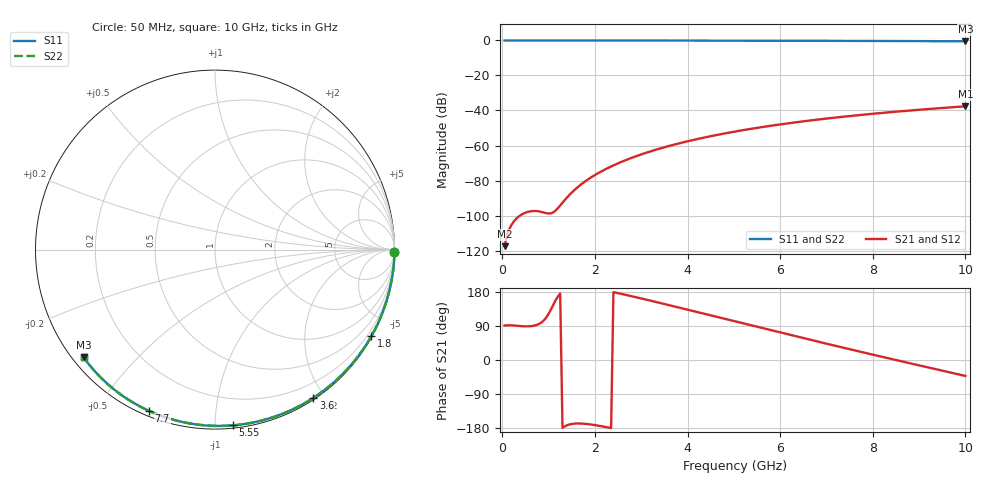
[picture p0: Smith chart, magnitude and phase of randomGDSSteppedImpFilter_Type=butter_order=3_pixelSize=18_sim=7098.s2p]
! freq	dB(S11)	phase(S11)	dB(S12)	phase(S12)
!  dB(S21)	phase(S21)	dB(S22)	phase(S22)
!S-par simulation data
#  GHz  S  DB  R 50
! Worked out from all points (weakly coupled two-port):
!   200 points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, 50 MHz to 10 GHz, reference 50 ohm
!   highest |S21| = -37.61 dB at 10 GHz (marker M1); lowest = -117.5 dB at 50 MHz (marker M2)
!   lowest |S11| = -0.5 dB at 10 GHz (marker M3), VSWR 36.46, Z = 1.55 - j17.8 ohm
!   |S11| at or under -10 dB: nowhere
!   |S22| runs from -0.5 to 0.0 dB; largest |S21 - S12| = 0
!   S11 on the Smith chart (normalised r, x): 50 MHz: open; 1.8 GHz: 0.03, -3.88; 3.6 GHz: 0.02, -1.86; 5.55 GHz: 0.02, -1.11; 7.7 GHz: 0.02, -0.67; 10 GHz: 0.03, -0.36
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0.05  -0.00 -0.8  -117.49 90.9  -117.49 90.9  -0.00 -0.8
0.45  -0.01 -7.3  -98.94 89.0  -98.94 89.0  -0.01 -7.3
0.9  -0.02 -14.6  -98.30 104.9  -98.30 104.9  -0.02 -14.6
1.75  -0.04 -28.1  -81.25 -168.1  -81.25 -168.1  -0.04 -28.1
1.8  -0.04 -28.9  -80.29 -168.6  -80.29 -168.6  -0.04 -28.9
1.85  -0.04 -29.7  -79.38 -169.2  -79.38 -169.2  -0.04 -29.7
2.05  -0.04 -32.9  -76.08 -172.8  -76.08 -172.8  -0.04 -32.9
2.2  -0.04 -35.2  -73.93 -176.1  -73.93 -176.1  -0.04 -35.2
2.55  -0.05 -40.6  -69.59 175.1  -69.59 175.1  -0.05 -40.6
2.95  -0.06 -46.7  -65.54 163.9  -65.54 163.9  -0.06 -46.7
3.4  -0.07 -53.5  -61.75 150.7  -61.75 150.7  -0.07 -53.5
3.6  -0.08 -56.5  -60.27 144.8  -60.27 144.8  -0.08 -56.5
3.9  -0.08 -60.9  -58.23 135.8  -58.23 135.8  -0.08 -60.9
4.3  -0.09 -66.7  -55.79 123.7  -55.79 123.7  -0.09 -66.7
5.05  -0.12 -77.3  -51.91 101.1  -51.91 101.1  -0.12 -77.3
5.55  -0.14 -84.1  -49.71 86.1  -49.71 86.1  -0.14 -84.1
6.1  -0.16 -91.5  -47.58 69.6  -47.58 69.6  -0.16 -91.5
6.7  -0.19 -99.4  -45.53 51.9  -45.53 51.9  -0.19 -99.4
7.7  -0.26 -112.2  -42.64 22.7  -42.64 22.7  -0.26 -112.2
8.35  -0.31 -120.4  -41.02 4.2  -41.02 4.2  -0.31 -120.4
9.2  -0.39 -130.8  -39.16 -19.7  -39.16 -19.7  -0.39 -130.8
10  -0.48 -140.7  -37.61 -42.0  -37.61 -42.0  -0.48 -140.7
